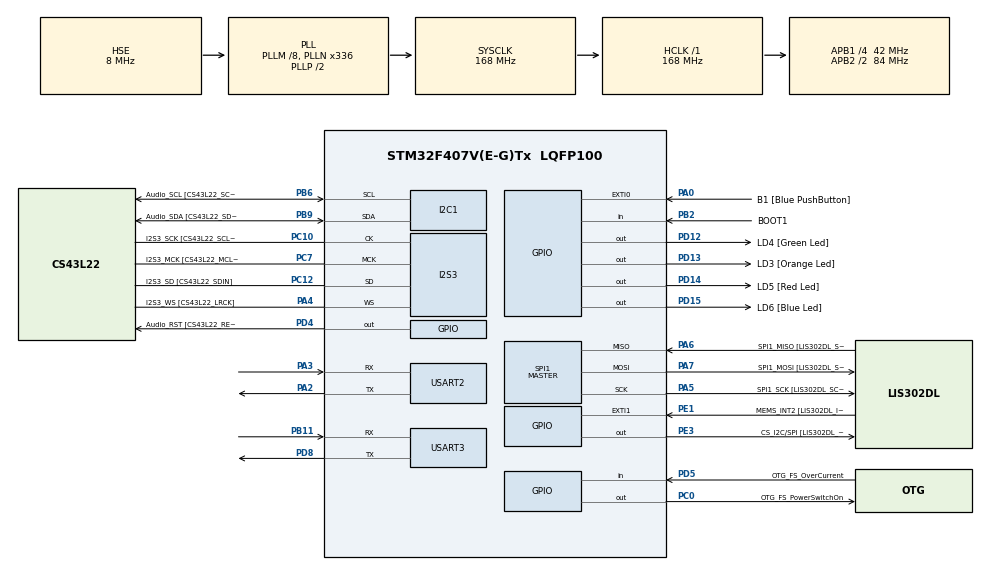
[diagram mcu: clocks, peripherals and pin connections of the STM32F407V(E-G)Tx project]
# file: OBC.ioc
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FREERTOS.Tasks01=defaultTask,24,128,StartDefaultTask,Default,NULL,Dynamic,NULL,NULL;myAccelerometer,40,128,AccelerometerTask,Default,NULL,Dynamic,NULL,NULL;myBeaconTask,32,128,BeaconTask,Default,NULL,Dynamic,NULL,NULL
I2S3.AudioFreq-Half_Duplex_Master=I2S_AUDIOFREQ_96K
I2S3.ErrorAudioFreq=-2.34 %
I2S3.ErrorAudioFreq-Half_Duplex_Master=0.8 %
I2S3.FullDuplexMode=I2S_FULLDUPLEXMODE_DISABLE
I2S3.Instance=SPI$Index
I2S3.RealAudioFreq=93.75 KHz
I2S3.RealAudioFreq-Half_Duplex_Master=96.774 KHz
I2S3.VirtualMode=I2S_MODE_MASTER
Mcu.Family=STM32F4
Mcu.Name=STM32F407V(E-G)Tx
Mcu.Package=LQFP100
NVIC.PriorityGroup=NVIC_PRIORITYGROUP_4
PA0-WKUP.GPIO_Label=B1 [Blue PushButton]
PA0-WKUP.GPIO_ModeDefaultEXTI=GPIO_MODE_EVT_RISING
PA0-WKUP.GPIO_PuPd=GPIO_NOPULL
PA0-WKUP.Signal=GPXTI0
PA10.GPIO_Label=OTG_FS_ID
PA10.GPIO_Mode=GPIO_MODE_AF_PP
PA10.GPIO_PuPd=GPIO_NOPULL
PA10.GPIO_Speed=GPIO_SPEED_FREQ_LOW
PA10.Signal=USB_OTG_FS_ID
PA11.GPIO_Label=OTG_FS_DM
PA11.GPIO_Mode=GPIO_MODE_AF_PP
PA11.GPIO_PuPd=GPIO_NOPULL
PA11.GPIO_Speed=GPIO_SPEED_FREQ_LOW
PA11.Signal=USB_OTG_FS_DM
PA12.GPIO_Label=OTG_FS_DP
PA12.GPIO_Mode=GPIO_MODE_AF_PP
PA12.GPIO_PuPd=GPIO_NOPULL
PA12.GPIO_Speed=GPIO_SPEED_FREQ_LOW
PA12.Signal=USB_OTG_FS_DP
PA13.GPIO_Label=SWDIO
PA13.Mode=Serial_Wire
PA13.Signal=SYS_JTMS-SWDIO
PA14.GPIO_Label=SWCLK
PA14.Mode=Serial_Wire
PA14.Signal=SYS_JTCK-SWCLK
PA2.Mode=Asynchronous
PA2.Signal=USART2_TX
PA3.Mode=Asynchronous
PA3.Signal=USART2_RX
PA4.GPIO_Label=I2S3_WS [CS43L22_LRCK]
PA4.GPIO_Mode=GPIO_MODE_AF_PP
PA4.GPIO_PuPd=GPIO_NOPULL
PA4.GPIO_Speed=GPIO_SPEED_FREQ_LOW
PA4.Mode=Half_Duplex_Master
PA4.Signal=I2S3_WS
PA5.GPIO_Label=SPI1_SCK [LIS302DL_SCL/SPC]
PA5.GPIO_Mode=GPIO_MODE_AF_PP
PA5.GPIO_PuPd=GPIO_NOPULL
PA5.GPIO_Speed=GPIO_SPEED_FREQ_LOW
PA5.Mode=Full_Duplex_Master
PA5.Signal=SPI1_SCK
PA6.GPIO_Label=SPI1_MISO [LIS302DL_SDO]
PA6.GPIO_Mode=GPIO_MODE_AF_PP
PA6.GPIO_PuPd=GPIO_NOPULL
PA6.GPIO_Speed=GPIO_SPEED_FREQ_LOW
PA6.Mode=Full_Duplex_Master
PA6.Signal=SPI1_MISO
PA7.GPIO_Label=SPI1_MOSI [LIS302DL_SDA/SDI/SDO]
PA7.GPIO_Mode=GPIO_MODE_AF_PP
PA7.GPIO_PuPd=GPIO_NOPULL
PA7.GPIO_Speed=GPIO_SPEED_FREQ_LOW
PA7.Mode=Full_Duplex_Master
PA7.Signal=SPI1_MOSI
PA9.GPIO_Label=VBUS_FS
PA9.GPIO_Mode=GPIO_MODE_INPUT
PA9.GPIO_PuPd=GPIO_NOPULL
PA9.Signal=USB_OTG_FS_VBUS
PB10.GPIO_Label=CLK_IN [MP45DT02_CLK]
PB10.GPIO_Mode=GPIO_MODE_AF_PP
PB10.GPIO_PuPd=GPIO_NOPULL
PB10.GPIO_Speed=GPIO_SPEED_FREQ_LOW
PB10.Signal=I2S2_CK
PB11.Mode=Asynchronous
PB11.Signal=USART3_RX
PB2.GPIO_Label=BOOT1
PB2.GPIO_Mode=GPIO_MODE_INPUT
PB2.GPIO_PuPd=GPIO_NOPULL
PB2.Signal=GPIO_Input
PB3.GPIO_Label=SWO
PB3.Signal=SYS_JTDO-SWO
PB6.GPIO_Label=Audio_SCL [CS43L22_SCL]
PB6.GPIO_Mode=GPIO_MODE_AF_OD
PB6.GPIO_PuPd=GPIO_NOPULL
PB6.GPIO_Speed=GPIO_SPEED_FREQ_LOW
PB6.Mode=I2C
PB6.Signal=I2C1_SCL
PB9.GPIO_Label=Audio_SDA [CS43L22_SDA]
PB9.GPIO_Mode=GPIO_MODE_AF_OD
PB9.GPIO_PuPd=GPIO_NOPULL
PB9.GPIO_Speed=GPIO_SPEED_FREQ_LOW
PB9.Mode=I2C
PB9.Signal=I2C1_SDA
PC0.GPIO_Label=OTG_FS_PowerSwitchOn
PC0.GPIO_PuPd=GPIO_NOPULL
PC0.GPIO_Speed=GPIO_SPEED_FREQ_LOW
PC0.PinState=GPIO_PIN_SET
PC0.Signal=GPIO_Output
PC10.GPIO_Label=I2S3_SCK [CS43L22_SCLK]
PC10.GPIO_Mode=GPIO_MODE_AF_PP
PC10.GPIO_PuPd=GPIO_NOPULL
PC10.GPIO_Speed=GPIO_SPEED_FREQ_LOW
PC10.Mode=Half_Duplex_Master
PC10.Signal=I2S3_CK
PC12.GPIO_Label=I2S3_SD [CS43L22_SDIN]
PC12.GPIO_Mode=GPIO_MODE_AF_PP
PC12.GPIO_PuPd=GPIO_NOPULL
PC12.GPIO_Speed=GPIO_SPEED_FREQ_LOW
PC12.Mode=Half_Duplex_Master
PC12.Signal=I2S3_SD
PC14-OSC32_IN.GPIO_Label=PC14-OSC32_IN
PC14-OSC32_IN.Mode=LSE-External-Oscillator
PC14-OSC32_IN.Signal=RCC_OSC32_IN
PC15-OSC32_OUT.GPIO_Label=PC15-OSC32_OUT
PC15-OSC32_OUT.Mode=LSE-External-Oscillator
PC15-OSC32_OUT.Signal=RCC_OSC32_OUT
PC3.GPIO_Label=PDM_OUT [MP45DT02_DOUT]
PC3.GPIO_Mode=GPIO_MODE_AF_PP
PC3.GPIO_PuPd=GPIO_NOPULL
PC3.GPIO_Speed=GPIO_SPEED_FREQ_LOW
PC3.Signal=I2S2_SD
PC7.GPIO_Label=I2S3_MCK [CS43L22_MCLK]
PC7.GPIO_Mode=GPIO_MODE_AF_PP
PC7.GPIO_PuPd=GPIO_NOPULL
PC7.GPIO_Speed=GPIO_SPEED_FREQ_LOW
PC7.Mode=Master_Clock_Activated
PC7.Signal=I2S3_MCK
PD12.GPIO_Label=LD4 [Green Led]
PD12.GPIO_PuPd=GPIO_NOPULL
PD12.GPIO_Speed=GPIO_SPEED_FREQ_LOW
PD12.Signal=GPIO_Output
PD13.GPIO_Label=LD3 [Orange Led]
PD13.GPIO_PuPd=GPIO_NOPULL
PD13.GPIO_Speed=GPIO_SPEED_FREQ_LOW
PD13.Signal=GPIO_Output
PD14.GPIO_Label=LD5 [Red Led]
PD14.GPIO_PuPd=GPIO_NOPULL
PD14.GPIO_Speed=GPIO_SPEED_FREQ_LOW
PD14.Signal=GPIO_Output
PD15.GPIO_Label=LD6 [Blue Led]
PD15.GPIO_PuPd=GPIO_NOPULL
PD15.GPIO_Speed=GPIO_SPEED_FREQ_LOW
PD15.Signal=GPIO_Output
PD4.GPIO_Label=Audio_RST [CS43L22_RESET]
PD4.GPIO_PuPd=GPIO_NOPULL
PD4.GPIO_Speed=GPIO_SPEED_FREQ_LOW
PD4.Signal=GPIO_Output
PD5.GPIO_Label=OTG_FS_OverCurrent
PD5.GPIO_Mode=GPIO_MODE_INPUT
PD5.GPIO_PuPd=GPIO_NOPULL
PD5.Signal=GPIO_Input
PD8.Mode=Asynchronous
PD8.Signal=USART3_TX
PE1.GPIO_Label=MEMS_INT2 [LIS302DL_INT2]
PE1.GPIO_ModeDefaultEXTI=GPIO_MODE_EVT_RISING
PE1.GPIO_PuPd=GPIO_NOPULL
PE1.Signal=GPXTI1
PE3.GPIO_Label=CS_I2C/SPI [LIS302DL_CS_I2C/SPI]
PE3.GPIO_PuPd=GPIO_NOPULL
PE3.GPIO_Speed=GPIO_SPEED_FREQ_LOW
PE3.Signal=GPIO_Output
PH0-OSC_IN.GPIO_Label=PH0-OSC_IN
PH0-OSC_IN.Mode=HSE-External-Oscillator
PH0-OSC_IN.Signal=RCC_OSC_IN
PH1-OSC_OUT.GPIO_Label=PH1-OSC_OUT
PH1-OSC_OUT.Mode=HSE-External-Oscillator
PH1-OSC_OUT.Signal=RCC_OSC_OUT
ProjectManager.HeapSize=0x200
ProjectManager.StackSize=0x400
ProjectManager.TargetToolchain=STM32CubeIDE
RCC.48MHZClocksFreq_Value=48000000
RCC.AHBFreq_Value=168000000
RCC.APB1CLKDivider=RCC_HCLK_DIV4
RCC.APB1Freq_Value=42000000
RCC.APB1TimFreq_Value=84000000
RCC.APB2CLKDivider=RCC_HCLK_DIV2
RCC.APB2Freq_Value=84000000
RCC.APB2TimFreq_Value=168000000
RCC.CortexFreq_Value=168000000
RCC.HCLKFreq_Value=168000000
RCC.HSE_VALUE=8000000
RCC.HSI_VALUE=16000000
RCC.PLLM=8
RCC.PLLN=336
RCC.PLLQ=7
RCC.PLLSourceVirtual=RCC_PLLSOURCE_HSE
RCC.SYSCLKFreq_VALUE=168000000
RCC.SYSCLKSource=RCC_SYSCLKSOURCE_PLLCLK
RCC.VCOOutputFreq_Value=336000000
SPI1.BaudRatePrescaler-Full_Duplex_Master=SPI_BAUDRATEPRESCALER_2
SPI1.CalculateBaudRate-Full_Duplex_Master=42.0 MBits/s
SPI1.Direction=SPI_DIRECTION_2LINES
SPI1.Mode=SPI_MODE_MASTER
SPI1.Mode-Full_Duplex_Master=SPI_MODE_MASTER
SPI1.VirtualType=VM_MASTER
USART2.VirtualMode=VM_ASYNC
USART3.VirtualMode=VM_ASYNC
VP_FREERTOS_VS_CMSIS_V2.Mode=CMSIS_V2
VP_RTC_VS_RTC_Activate.Mode=RTC_Enabled
VP_TIM1_VS_ClockSourceINT.Mode=Internal
board=STM32F407G-DISC1

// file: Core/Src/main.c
/* USER CODE BEGIN Header */
/**
  ******************************************************************************
  * @file           : main.c
  * @brief          : Main program body
  ******************************************************************************
  * @attention
  *
  * <h2><center>&copy; Copyright (c) 2021 STMicroelectronics.
  * All rights reserved.</center></h2>
  *
  * This software component is licensed by ST under Ultimate Liberty license
  * SLA0044, the "License"; You may not use this file except in compliance with
  * the License. You may obtain a copy of the License at:
  *                             www.st.com/SLA0044
  *
  ******************************************************************************
  */
/* USER CODE END Header */

#include "main.h"
#include "cmsis_os.h"

/* USER CODE BEGIN Includes */
#include <string.h>
#include <stdio.h>
#include "stm32f4_discovery_accelerometer.h"
/* USER CODE END Includes */

/* USER CODE BEGIN PD */
uint8_t ACCELERO_Status[]="ACCELERO_Status_OK\r\n";
uint8_t ACCELERO_Status2[]="ACCELERO_Status_ERROR\r\n";

/* USER CODE END PD */

I2C_HandleTypeDef hi2c1;

I2S_HandleTypeDef hi2s3;

RTC_HandleTypeDef hrtc;

SPI_HandleTypeDef hspi1;

TIM_HandleTypeDef htim1;

UART_HandleTypeDef huart2;
UART_HandleTypeDef huart3;

/* Definitions for defaultTask */
osThreadId_t defaultTaskHandle;
const osThreadAttr_t defaultTask_attributes = {
  .name = "defaultTask",
  .priority = (osPriority_t) osPriorityNormal,
  .stack_size = 128 * 4
};
/* Definitions for myAccelerometer */
osThreadId_t myAccelerometerHandle;
const osThreadAttr_t myAccelerometer_attributes = {
  .name = "myAccelerometer",
  .priority = (osPriority_t) osPriorityHigh,
  .stack_size = 128 * 4
};
/* Definitions for myBeaconTask */
osThreadId_t myBeaconTaskHandle;
const osThreadAttr_t myBeaconTask_attributes = {
  .name = "myBeaconTask",
  .priority = (osPriority_t) osPriorityAboveNormal,
  .stack_size = 128 * 4
};

void SystemClock_Config(void);
static void MX_GPIO_Init(void);
static void MX_I2C1_Init(void);
static void MX_I2S3_Init(void);
static void MX_SPI1_Init(void);
static void MX_RTC_Init(void);
static void MX_TIM1_Init(void);
static void MX_USART2_UART_Init(void);
static void MX_USART3_UART_Init(void);
void StartDefaultTask(void *argument);
void AccelerometerTask(void *argument);
void BeaconTask(void *argument);

int main(void)
{

  /* MCU Configuration--------------------------------------------------------*/

  /* Reset of all peripherals, Initializes the Flash interface and the Systick. */
  HAL_Init();

  /* Configure the system clock */
  SystemClock_Config();

  /* Initialize all configured peripherals */
  MX_GPIO_Init();
  MX_I2C1_Init();
  MX_I2S3_Init();
  MX_SPI1_Init();
  MX_RTC_Init();
  MX_TIM1_Init();
  MX_USART2_UART_Init();
  MX_USART3_UART_Init();

  /* Init scheduler */
  osKernelInitialize();

  /* Create the thread(s) */
  /* creation of defaultTask */
  defaultTaskHandle = osThreadNew(StartDefaultTask, NULL, &defaultTask_attributes);

  /* creation of myAccelerometer */
  myAccelerometerHandle = osThreadNew(AccelerometerTask, NULL, &myAccelerometer_attributes);

  /* creation of myBeaconTask */
  myBeaconTaskHandle = osThreadNew(BeaconTask, NULL, &myBeaconTask_attributes);

  /* Start scheduler */
  osKernelStart();

  /* We should never get here as control is now taken by the scheduler */
  /* Infinite loop */
  while (1)
  {

  }
}

void SystemClock_Config(void)
{
  RCC_OscInitTypeDef RCC_OscInitStruct = {0};
  RCC_ClkInitTypeDef RCC_ClkInitStruct = {0};
  RCC_PeriphCLKInitTypeDef PeriphClkInitStruct = {0};

  /** Configure the main internal regulator output voltage
  */
  __HAL_RCC_PWR_CLK_ENABLE();
  __HAL_PWR_VOLTAGESCALING_CONFIG(PWR_REGULATOR_VOLTAGE_SCALE1);
  /** Initializes the CPU, AHB and APB busses clocks
  */
  RCC_OscInitStruct.OscillatorType = RCC_OSCILLATORTYPE_LSI|RCC_OSCILLATORTYPE_HSE;
  RCC_OscInitStruct.HSEState = RCC_HSE_ON;
  RCC_OscInitStruct.LSIState = RCC_LSI_ON;
  RCC_OscInitStruct.PLL.PLLState = RCC_PLL_ON;
  RCC_OscInitStruct.PLL.PLLSource = RCC_PLLSOURCE_HSE;
  RCC_OscInitStruct.PLL.PLLM = 8;
  RCC_OscInitStruct.PLL.PLLN = 336;
  RCC_OscInitStruct.PLL.PLLP = RCC_PLLP_DIV2;
  RCC_OscInitStruct.PLL.PLLQ = 7;
  if (HAL_RCC_OscConfig(&RCC_OscInitStruct) != HAL_OK)
  {
    Error_Handler();
  }
  /** Initializes the CPU, AHB and APB busses clocks
  */
  RCC_ClkInitStruct.ClockType = RCC_CLOCKTYPE_HCLK|RCC_CLOCKTYPE_SYSCLK
                              |RCC_CLOCKTYPE_PCLK1|RCC_CLOCKTYPE_PCLK2;
  RCC_ClkInitStruct.SYSCLKSource = RCC_SYSCLKSOURCE_PLLCLK;
  RCC_ClkInitStruct.AHBCLKDivider = RCC_SYSCLK_DIV1;
  RCC_ClkInitStruct.APB1CLKDivider = RCC_HCLK_DIV4;
  RCC_ClkInitStruct.APB2CLKDivider = RCC_HCLK_DIV2;

  if (HAL_RCC_ClockConfig(&RCC_ClkInitStruct, FLASH_LATENCY_5) != HAL_OK)
  {
    Error_Handler();
  }
  PeriphClkInitStruct.PeriphClockSelection = RCC_PERIPHCLK_I2S|RCC_PERIPHCLK_RTC;
  PeriphClkInitStruct.PLLI2S.PLLI2SN = 192;
  PeriphClkInitStruct.PLLI2S.PLLI2SR = 2;
  PeriphClkInitStruct.RTCClockSelection = RCC_RTCCLKSOURCE_LSI;
  if (HAL_RCCEx_PeriphCLKConfig(&PeriphClkInitStruct) != HAL_OK)
  {
    Error_Handler();
  }
}

static void MX_I2C1_Init(void)
{

  hi2c1.Instance = I2C1;
  hi2c1.Init.ClockSpeed = 100000;
  hi2c1.Init.DutyCycle = I2C_DUTYCYCLE_2;
  hi2c1.Init.OwnAddress1 = 0;
  hi2c1.Init.AddressingMode = I2C_ADDRESSINGMODE_7BIT;
  hi2c1.Init.DualAddressMode = I2C_DUALADDRESS_DISABLE;
  hi2c1.Init.OwnAddress2 = 0;
  hi2c1.Init.GeneralCallMode = I2C_GENERALCALL_DISABLE;
  hi2c1.Init.NoStretchMode = I2C_NOSTRETCH_DISABLE;
  if (HAL_I2C_Init(&hi2c1) != HAL_OK)
  {
    Error_Handler();
  }

}

static void MX_I2S3_Init(void)
{

  hi2s3.Instance = SPI3;
  hi2s3.Init.Mode = I2S_MODE_MASTER_TX;
  hi2s3.Init.Standard = I2S_STANDARD_PHILIPS;
  hi2s3.Init.DataFormat = I2S_DATAFORMAT_16B;
  hi2s3.Init.MCLKOutput = I2S_MCLKOUTPUT_ENABLE;
  hi2s3.Init.AudioFreq = I2S_AUDIOFREQ_96K;
  hi2s3.Init.CPOL = I2S_CPOL_LOW;
  hi2s3.Init.ClockSource = I2S_CLOCK_PLL;
  hi2s3.Init.FullDuplexMode = I2S_FULLDUPLEXMODE_DISABLE;
  if (HAL_I2S_Init(&hi2s3) != HAL_OK)
  {
    Error_Handler();
  }

}

static void MX_RTC_Init(void)
{

  /** Initialize RTC Only
  */
  hrtc.Instance = RTC;
  hrtc.Init.HourFormat = RTC_HOURFORMAT_24;
  hrtc.Init.AsynchPrediv = 127;
  hrtc.Init.SynchPrediv = 255;
  hrtc.Init.OutPut = RTC_OUTPUT_DISABLE;
  hrtc.Init.OutPutPolarity = RTC_OUTPUT_POLARITY_HIGH;
  hrtc.Init.OutPutType = RTC_OUTPUT_TYPE_OPENDRAIN;
  if (HAL_RTC_Init(&hrtc) != HAL_OK)
  {
    Error_Handler();
  }

}

static void MX_SPI1_Init(void)
{

  /* SPI1 parameter configuration*/
  hspi1.Instance = SPI1;
  hspi1.Init.Mode = SPI_MODE_MASTER;
  hspi1.Init.Direction = SPI_DIRECTION_2LINES;
  hspi1.Init.DataSize = SPI_DATASIZE_8BIT;
  hspi1.Init.CLKPolarity = SPI_POLARITY_LOW;
  hspi1.Init.CLKPhase = SPI_PHASE_1EDGE;
  hspi1.Init.NSS = SPI_NSS_SOFT;
  hspi1.Init.BaudRatePrescaler = SPI_BAUDRATEPRESCALER_2;
  hspi1.Init.FirstBit = SPI_FIRSTBIT_MSB;
  hspi1.Init.TIMode = SPI_TIMODE_DISABLE;
  hspi1.Init.CRCCalculation = SPI_CRCCALCULATION_DISABLE;
  hspi1.Init.CRCPolynomial = 10;
  if (HAL_SPI_Init(&hspi1) != HAL_OK)
  {
    Error_Handler();
  }

}

static void MX_TIM1_Init(void)
{

  TIM_ClockConfigTypeDef sClockSourceConfig = {0};
  TIM_MasterConfigTypeDef sMasterConfig = {0};

  htim1.Instance = TIM1;
  htim1.Init.Prescaler = 0;
  htim1.Init.CounterMode = TIM_COUNTERMODE_UP;
  htim1.Init.Period = 0;
  htim1.Init.ClockDivision = TIM_CLOCKDIVISION_DIV1;
  htim1.Init.RepetitionCounter = 0;
  htim1.Init.AutoReloadPreload = TIM_AUTORELOAD_PRELOAD_DISABLE;
  if (HAL_TIM_Base_Init(&htim1) != HAL_OK)
  {
    Error_Handler();
  }
  sClockSourceConfig.ClockSource = TIM_CLOCKSOURCE_INTERNAL;
  if (HAL_TIM_ConfigClockSource(&htim1, &sClockSourceConfig) != HAL_OK)
  {
    Error_Handler();
  }
  sMasterConfig.MasterOutputTrigger = TIM_TRGO_RESET;
  sMasterConfig.MasterSlaveMode = TIM_MASTERSLAVEMODE_DISABLE;
  if (HAL_TIMEx_MasterConfigSynchronization(&htim1, &sMasterConfig) != HAL_OK)
  {
    Error_Handler();
  }

}

static void MX_USART2_UART_Init(void)
{

  huart2.Instance = USART2;
  huart2.Init.BaudRate = 115200;
  huart2.Init.WordLength = UART_WORDLENGTH_8B;
  huart2.Init.StopBits = UART_STOPBITS_1;
  huart2.Init.Parity = UART_PARITY_NONE;
  huart2.Init.Mode = UART_MODE_TX_RX;
  huart2.Init.HwFlowCtl = UART_HWCONTROL_NONE;
  huart2.Init.OverSampling = UART_OVERSAMPLING_16;
  if (HAL_UART_Init(&huart2) != HAL_OK)
  {
    Error_Handler();
  }

}

static void MX_USART3_UART_Init(void)
{

  huart3.Instance = USART3;
  huart3.Init.BaudRate = 115200;
  huart3.Init.WordLength = UART_WORDLENGTH_8B;
  huart3.Init.StopBits = UART_STOPBITS_1;
  huart3.Init.Parity = UART_PARITY_NONE;
  huart3.Init.Mode = UART_MODE_TX_RX;
  huart3.Init.HwFlowCtl = UART_HWCONTROL_NONE;
  huart3.Init.OverSampling = UART_OVERSAMPLING_16;
  if (HAL_UART_Init(&huart3) != HAL_OK)
  {
    Error_Handler();
  }

}

static void MX_GPIO_Init(void)
{
  GPIO_InitTypeDef GPIO_InitStruct = {0};

  /* GPIO Ports Clock Enable */
  __HAL_RCC_GPIOE_CLK_ENABLE();
  __HAL_RCC_GPIOC_CLK_ENABLE();
  __HAL_RCC_GPIOH_CLK_ENABLE();
  __HAL_RCC_GPIOA_CLK_ENABLE();
  __HAL_RCC_GPIOB_CLK_ENABLE();
  __HAL_RCC_GPIOD_CLK_ENABLE();

  /*Configure GPIO pin Output Level */
  HAL_GPIO_WritePin(CS_I2C_SPI_GPIO_Port, CS_I2C_SPI_Pin, GPIO_PIN_RESET);

  /*Configure GPIO pin Output Level */
  HAL_GPIO_WritePin(OTG_FS_PowerSwitchOn_GPIO_Port, OTG_FS_PowerSwitchOn_Pin, GPIO_PIN_SET);

  /*Configure GPIO pin Output Level */
  HAL_GPIO_WritePin(GPIOD, LD4_Pin|LD3_Pin|LD5_Pin|LD6_Pin
                          |Audio_RST_Pin, GPIO_PIN_RESET);

  /*Configure GPIO pin : CS_I2C_SPI_Pin */
  GPIO_InitStruct.Pin = CS_I2C_SPI_Pin;
  GPIO_InitStruct.Mode = GPIO_MODE_OUTPUT_PP;
  GPIO_InitStruct.Pull = GPIO_NOPULL;
  GPIO_InitStruct.Speed = GPIO_SPEED_FREQ_LOW;
  HAL_GPIO_Init(CS_I2C_SPI_GPIO_Port, &GPIO_InitStruct);

  /*Configure GPIO pin : OTG_FS_PowerSwitchOn_Pin */
  GPIO_InitStruct.Pin = OTG_FS_PowerSwitchOn_Pin;
  GPIO_InitStruct.Mode = GPIO_MODE_OUTPUT_PP;
  GPIO_InitStruct.Pull = GPIO_NOPULL;
  GPIO_InitStruct.Speed = GPIO_SPEED_FREQ_LOW;
  HAL_GPIO_Init(OTG_FS_PowerSwitchOn_GPIO_Port, &GPIO_InitStruct);

  /*Configure GPIO pin : PDM_OUT_Pin */
  GPIO_InitStruct.Pin = PDM_OUT_Pin;
  GPIO_InitStruct.Mode = GPIO_MODE_AF_PP;
  GPIO_InitStruct.Pull = GPIO_NOPULL;
  GPIO_InitStruct.Speed = GPIO_SPEED_FREQ_LOW;
  GPIO_InitStruct.Alternate = GPIO_AF5_SPI2;
  HAL_GPIO_Init(PDM_OUT_GPIO_Port, &GPIO_InitStruct);

  /*Configure GPIO pin : B1_Pin */
  GPIO_InitStruct.Pin = B1_Pin;
  GPIO_InitStruct.Mode = GPIO_MODE_EVT_RISING;
  GPIO_InitStruct.Pull = GPIO_NOPULL;
  HAL_GPIO_Init(B1_GPIO_Port, &GPIO_InitStruct);

  /*Configure GPIO pin : BOOT1_Pin */
  GPIO_InitStruct.Pin = BOOT1_Pin;
  GPIO_InitStruct.Mode = GPIO_MODE_INPUT;
  GPIO_InitStruct.Pull = GPIO_NOPULL;
  HAL_GPIO_Init(BOOT1_GPIO_Port, &GPIO_InitStruct);

  /*Configure GPIO pin : CLK_IN_Pin */
  GPIO_InitStruct.Pin = CLK_IN_Pin;
  GPIO_InitStruct.Mode = GPIO_MODE_AF_PP;
  GPIO_InitStruct.Pull = GPIO_NOPULL;
  GPIO_InitStruct.Speed = GPIO_SPEED_FREQ_LOW;
  GPIO_InitStruct.Alternate = GPIO_AF5_SPI2;
  HAL_GPIO_Init(CLK_IN_GPIO_Port, &GPIO_InitStruct);

  /*Configure GPIO pins : LD4_Pin LD3_Pin LD5_Pin LD6_Pin
                           Audio_RST_Pin */
  GPIO_InitStruct.Pin = LD4_Pin|LD3_Pin|LD5_Pin|LD6_Pin
                          |Audio_RST_Pin;
  GPIO_InitStruct.Mode = GPIO_MODE_OUTPUT_PP;
  GPIO_InitStruct.Pull = GPIO_NOPULL;
  GPIO_InitStruct.Speed = GPIO_SPEED_FREQ_LOW;
  HAL_GPIO_Init(GPIOD, &GPIO_InitStruct);

  /*Configure GPIO pin : VBUS_FS_Pin */
  GPIO_InitStruct.Pin = VBUS_FS_Pin;
  GPIO_InitStruct.Mode = GPIO_MODE_INPUT;
  GPIO_InitStruct.Pull = GPIO_NOPULL;
  HAL_GPIO_Init(VBUS_FS_GPIO_Port, &GPIO_InitStruct);

  /*Configure GPIO pins : OTG_FS_ID_Pin OTG_FS_DM_Pin OTG_FS_DP_Pin */
  GPIO_InitStruct.Pin = OTG_FS_ID_Pin|OTG_FS_DM_Pin|OTG_FS_DP_Pin;
  GPIO_InitStruct.Mode = GPIO_MODE_AF_PP;
  GPIO_InitStruct.Pull = GPIO_NOPULL;
  GPIO_InitStruct.Speed = GPIO_SPEED_FREQ_LOW;
  GPIO_InitStruct.Alternate = GPIO_AF10_OTG_FS;
  HAL_GPIO_Init(GPIOA, &GPIO_InitStruct);

  /*Configure GPIO pin : OTG_FS_OverCurrent_Pin */
  GPIO_InitStruct.Pin = OTG_FS_OverCurrent_Pin;
  GPIO_InitStruct.Mode = GPIO_MODE_INPUT;
  GPIO_InitStruct.Pull = GPIO_NOPULL;
  HAL_GPIO_Init(OTG_FS_OverCurrent_GPIO_Port, &GPIO_InitStruct);

  /*Configure GPIO pin : MEMS_INT2_Pin */
  GPIO_InitStruct.Pin = MEMS_INT2_Pin;
  GPIO_InitStruct.Mode = GPIO_MODE_EVT_RISING;
  GPIO_InitStruct.Pull = GPIO_NOPULL;
  HAL_GPIO_Init(MEMS_INT2_GPIO_Port, &GPIO_InitStruct);

}

/* USER CODE BEGIN 4 */
void my_accelero_init(void) {
	if (BSP_ACCELERO_Init() != ACCELERO_ERROR){
		HAL_UART_Transmit(&huart2, ACCELERO_Status, sizeof(ACCELERO_Status), 10000);
	}
	else
		HAL_UART_Transmit(&huart2, ACCELERO_Status2, sizeof(ACCELERO_Status2), 10000);
        //RESET function

}
/* USER CODE END 4 */

void StartDefaultTask(void *argument)
{
  for(;;)
  {
    osDelay(1);
  }
}

void AccelerometerTask(void *argument)
{
  /* USER CODE BEGIN AccelerometerTask */
  char str[50] = "";
  int16_t xyz[3] = { 0 };
  my_accelero_init();

  HAL_Delay(1000);
  /* Infinite loop */
  for(;;)
  {
	BSP_ACCELERO_GetXYZ(&xyz);
	sprintf(str, "x=%d, y=%d, z=%d\r\n", xyz[0], xyz[1], xyz[2]);

	HAL_UART_Transmit(&huart2, (uint8_t*) str, strlen(str), 10000);
	//osDelay(1000);
	HAL_Delay(50);

  }
  /* USER CODE END AccelerometerTask */
}

void BeaconTask(void *argument)
{
  /* USER CODE BEGIN BeaconTask */
  uint8_t beacon[] = "AT+SEND=3,2,HI\r\n";

  for(;;)
  {
	HAL_UART_Transmit(&huart2, beacon, sizeof(beacon), 10000);
	osDelay(1000);

  }
  /* USER CODE END BeaconTask */
}

void Error_Handler(void)
{
}

/************************ (C) COPYRIGHT STMicroelectronics *****END OF FILE****/
